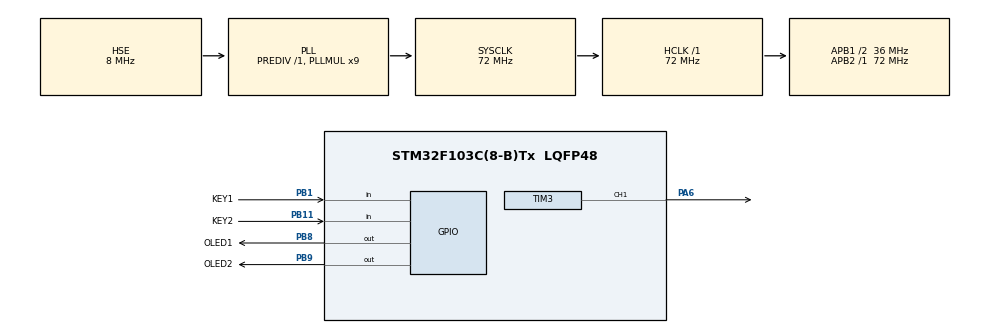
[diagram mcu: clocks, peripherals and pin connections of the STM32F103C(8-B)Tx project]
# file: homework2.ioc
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Mcu.Family=STM32F1
Mcu.Name=STM32F103C(8-B)Tx
Mcu.Package=LQFP48
NVIC.PriorityGroup=NVIC_PRIORITYGROUP_4
PA13.Mode=Serial_Wire
PA13.Signal=SYS_JTMS-SWDIO
PA14.Mode=Serial_Wire
PA14.Signal=SYS_JTCK-SWCLK
PA6.Signal=S_TIM3_CH1
PB1.GPIO_Label=KEY1
PB1.GPIO_PuPd=GPIO_PULLUP
PB1.Signal=GPIO_Input
PB11.GPIO_Label=KEY2
PB11.GPIO_PuPd=GPIO_PULLUP
PB11.Signal=GPIO_Input
PB8.GPIO_Label=OLED1
PB8.GPIO_Speed=GPIO_SPEED_FREQ_HIGH
PB8.Signal=GPIO_Output
PB9.GPIO_Label=OLED2
PB9.GPIO_Speed=GPIO_SPEED_FREQ_HIGH
PB9.Signal=GPIO_Output
PC14-OSC32_IN.Mode=LSE-External-Oscillator
PC14-OSC32_IN.Signal=RCC_OSC32_IN
PC15-OSC32_OUT.Mode=LSE-External-Oscillator
PC15-OSC32_OUT.Signal=RCC_OSC32_OUT
PD0-OSC_IN.Mode=HSE-External-Oscillator
PD0-OSC_IN.Signal=RCC_OSC_IN
PD1-OSC_OUT.Mode=HSE-External-Oscillator
PD1-OSC_OUT.Signal=RCC_OSC_OUT
ProjectManager.HeapSize=0x200
ProjectManager.StackSize=0x400
ProjectManager.TargetToolchain=MDK-ARM V5.32
RCC.AHBFreq_Value=72000000
RCC.APB1CLKDivider=RCC_HCLK_DIV2
RCC.APB1Freq_Value=36000000
RCC.APB1TimFreq_Value=72000000
RCC.APB2Freq_Value=72000000
RCC.APB2TimFreq_Value=72000000
RCC.HCLKFreq_Value=72000000
RCC.PLLMUL=RCC_PLL_MUL9
RCC.PLLSourceVirtual=RCC_PLLSOURCE_HSE
RCC.SYSCLKFreq_VALUE=72000000
RCC.SYSCLKSource=RCC_SYSCLKSOURCE_PLLCLK
RCC.USBFreq_Value=72000000
SH.S_TIM3_CH1.0=TIM3_CH1,PWM Generation1 CH1
TIM3.Channel-PWM\ Generation1\ CH1=TIM_CHANNEL_1
TIM3.Period=999
TIM3.Prescaler=71
board=custom

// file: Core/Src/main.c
/* USER CODE BEGIN Header */
/**
  ******************************************************************************
  * @file           : main.c
  * @brief          : Main program body
  ******************************************************************************
  * @attention
  *
  * Copyright (c) 2026 STMicroelectronics.
  * All rights reserved.
  *
  * This software is licensed under terms that can be found in the LICENSE file
  * in the root directory of this software component.
  * If no LICENSE file comes with this software, it is provided AS-IS.
  *
  ******************************************************************************
  */
/* USER CODE END Header */
#include "main.h"
#include "tim.h"
#include "gpio.h"

/* USER CODE BEGIN Includes */
#include "KEY1.h"
#include "OLED.h"
/* USER CODE END Includes */

/* USER CODE BEGIN PV */
uint16_t percent=0;
/* USER CODE END PV */

void SystemClock_Config(void);

int main(void)
{

  /* MCU Configuration--------------------------------------------------------*/

  /* Reset of all peripherals, Initializes the Flash interface and the Systick. */
  HAL_Init();

  /* Configure the system clock */
  SystemClock_Config();

  /* Initialize all configured peripherals */
  MX_GPIO_Init();
  MX_TIM3_Init();
  /* USER CODE BEGIN 2 */
  OLED_Init ();
 HAL_TIM_PWM_Start (&htim3 ,TIM_CHANNEL_1 );
 __HAL_TIM_SET_COMPARE (&htim3 ,TIM_CHANNEL_1,0 );
 OLED_ShowString (1,1,"percent:");
  /* USER CODE END 2 */

  /* Infinite loop */
  while (1)
  {

    /* USER CODE BEGIN 3 */
	uint8_t key = Key_GetNum();

   if (key == 1)
{
    percent = (percent + 5 > 100) ? 100 : percent + 5;
}
   else if (key == 2)
{
    percent = (percent < 5) ? 0 : percent - 5;
}

   if (key != 0)
{
    OLED_ShowNum(1, 9, percent, 3);
    __HAL_TIM_SET_COMPARE(&htim3, TIM_CHANNEL_1, (uint32_t)percent * 10);
}
    HAL_Delay(10);
  }
  /* USER CODE END 3 */
}

void SystemClock_Config(void)
{
  RCC_OscInitTypeDef RCC_OscInitStruct = {0};
  RCC_ClkInitTypeDef RCC_ClkInitStruct = {0};

  /** Initializes the RCC Oscillators according to the specified parameters
  * in the RCC_OscInitTypeDef structure.
  */
  RCC_OscInitStruct.OscillatorType = RCC_OSCILLATORTYPE_HSE;
  RCC_OscInitStruct.HSEState = RCC_HSE_ON;
  RCC_OscInitStruct.HSEPredivValue = RCC_HSE_PREDIV_DIV1;
  RCC_OscInitStruct.HSIState = RCC_HSI_ON;
  RCC_OscInitStruct.PLL.PLLState = RCC_PLL_ON;
  RCC_OscInitStruct.PLL.PLLSource = RCC_PLLSOURCE_HSE;
  RCC_OscInitStruct.PLL.PLLMUL = RCC_PLL_MUL9;
  if (HAL_RCC_OscConfig(&RCC_OscInitStruct) != HAL_OK)
  {
    Error_Handler();
  }

  /** Initializes the CPU, AHB and APB buses clocks
  */
  RCC_ClkInitStruct.ClockType = RCC_CLOCKTYPE_HCLK|RCC_CLOCKTYPE_SYSCLK
                              |RCC_CLOCKTYPE_PCLK1|RCC_CLOCKTYPE_PCLK2;
  RCC_ClkInitStruct.SYSCLKSource = RCC_SYSCLKSOURCE_PLLCLK;
  RCC_ClkInitStruct.AHBCLKDivider = RCC_SYSCLK_DIV1;
  RCC_ClkInitStruct.APB1CLKDivider = RCC_HCLK_DIV2;
  RCC_ClkInitStruct.APB2CLKDivider = RCC_HCLK_DIV1;

  if (HAL_RCC_ClockConfig(&RCC_ClkInitStruct, FLASH_LATENCY_2) != HAL_OK)
  {
    Error_Handler();
  }
}

void Error_Handler(void)
{
  __disable_irq();
  while (1)
  {
  }
}
